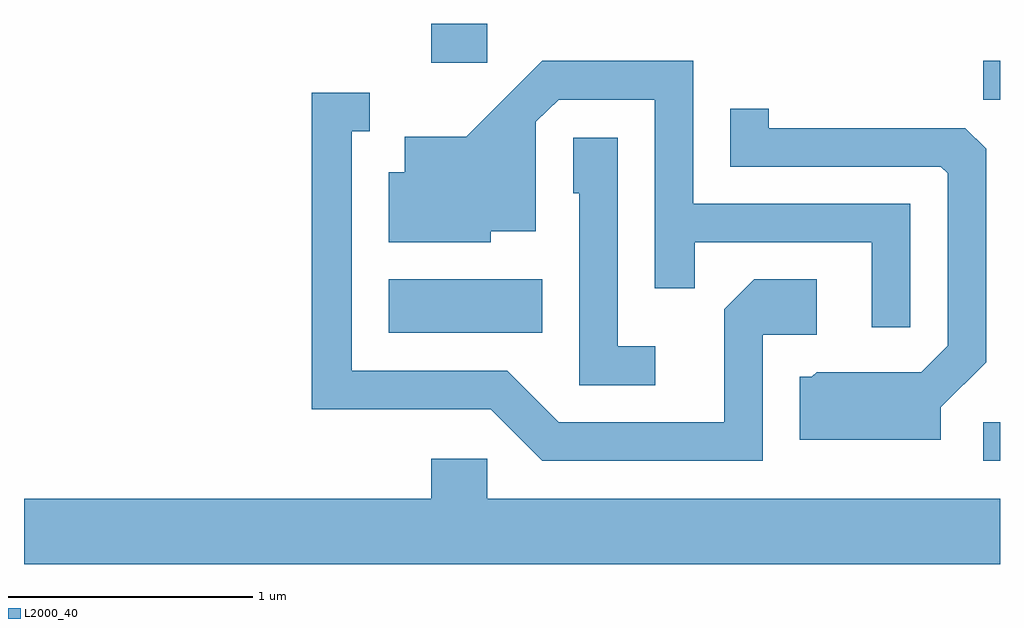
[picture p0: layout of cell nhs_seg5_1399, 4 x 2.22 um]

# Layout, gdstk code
import gdstk
lib = gdstk.Library(unit=1e-6, precision=1e-09)
def R(c, l, rs):  # rectangles x0, y0, x1, y1
    for r in rs: c.add(gdstk.rectangle(r[:2], r[2:], *l))
def P(c, l, *ps):  # polygons
    for p in ps: c.add(gdstk.Polygon(p, *l))
L2000_40 = (2000, 40)

nhs_seg5_1399 = lib.new_cell('nhs_seg5_1399')
R(nhs_seg5_1399, L2000_40, [(229.543,1508.281,229.611,1508.439), (227.106,1508.806,227.734,1509.024), (229.543,1509.761,229.611,1509.919), (227.281,1509.911,227.509,1510.072)])
P(nhs_seg5_1399, L2000_40, [(229.244,1509.334),(228.354,1509.334),(228.354,1509.919),(227.734,1509.919),(227.424,1509.609),(227.171,1509.609),(227.171,1509.464),(227.106,1509.464),(227.106,1509.176),(227.524,1509.176),(227.524,1509.221),(227.709,1509.221),(227.709,1509.669),(227.802,1509.761),(228.196,1509.761),(228.196,1508.988),(228.359,1508.988),(228.359,1509.176),(229.086,1509.176),(229.086,1508.828),(229.244,1508.828)],
  [(228.639,1508.796),(228.859,1508.796),(228.859,1509.024),(228.604,1509.024),(228.481,1508.902),(228.481,1508.439),(227.802,1508.439),(227.592,1508.649),(226.954,1508.649),(226.954,1509.631),(227.028,1509.631),(227.028,1509.789),(226.791,1509.789),(226.791,1508.491),(227.524,1508.491),(227.734,1508.281),(228.639,1508.281)],
  [(229.369,1508.499),(229.554,1508.684),(229.554,1509.559),(229.469,1509.644),(228.664,1509.644),(228.664,1509.723),(228.506,1509.723),(228.506,1509.486),(229.369,1509.486),(229.396,1509.459),(229.396,1508.752),(229.289,1508.644),(228.859,1508.644),(228.839,1508.624),(228.791,1508.624),(228.791,1508.366),(229.369,1508.366)],
  [(228.198,1508.749),(228.044,1508.749),(228.044,1509.604),(227.861,1509.604),(227.861,1509.376),(227.886,1509.376),(227.886,1508.591),(228.198,1508.591)],
  [(229.611,1508.124),(227.509,1508.124),(227.509,1508.289),(227.281,1508.289),(227.281,1508.124),(225.611,1508.124),(225.611,1507.856),(229.611,1507.856)])

lib.write_gds('nhs_seg5_1399.gds')
